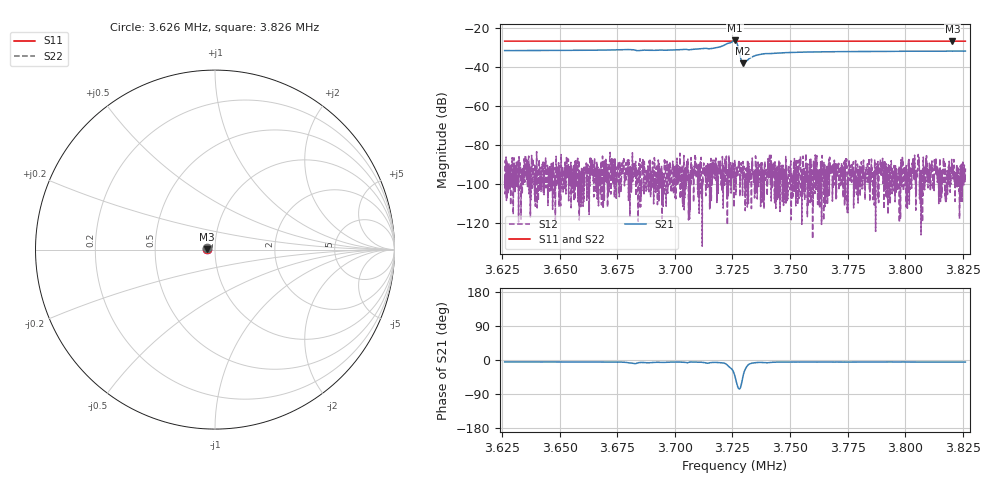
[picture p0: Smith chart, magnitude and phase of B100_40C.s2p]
# Hz S dB R 50.000
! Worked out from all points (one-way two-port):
!   6401 points, 3.626 MHz to 3.826 MHz, reference 50 ohm
!   highest |S21| = -26.15 dB at 3.726 MHz (marker M1); lowest = -37.9 dB at 3.73 MHz (marker M2)
!   lowest |S11| = -26.5 dB at 3.82 MHz (marker M3), VSWR 1.10, Z = 45.5 + j0.253 ohm
!   |S11| at or under -10 dB: start of sweep to end of sweep
!   |S22| runs from -26.6 to -26.5 dB; largest |S21 - S12| = 0.049
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3626094  -26.49 175.0  -31.33 -4.9  -99.31 -38.9  -26.53 170.0
3659438  -26.49 175.3  -31.21 -5.3  -101.70 28.3  -26.54 170.3
3679469  -26.50 175.4  -30.81 -6.9  -87.59 75.0  -26.55 170.5
3683969  -26.50 175.5  -31.38 -7.4  -106.23 81.3  -26.55 170.5
3692782  -26.50 175.6  -31.14 -6.0  -88.88 -12.6  -26.56 170.6
3715688  -26.51 175.8  -30.33 -6.9  -91.87 43.9  -26.57 170.8
3719782  -26.50 175.8  -29.36 -6.8  -95.09 47.0  -26.57 170.9
3725375  -26.50 175.8  -26.46 -30.7  -90.77 21.1  -26.57 170.9
3726094  -26.51 175.8  -26.15 -43.3  -89.25 126.1  -26.57 170.9
3726532  -26.51 175.8  -26.50 -53.8  -97.33 5.7  -26.57 170.9
3726969  -26.51 175.8  -27.61 -64.4  -91.31 85.3  -26.57 170.9
3727438  -26.51 175.9  -29.48 -72.8  -94.10 83.2  -26.57 170.9
3728750  -26.51 175.9  -36.23 -66.9  -88.91 99.8  -26.57 170.9
3729156  -26.51 175.9  -37.49 -54.8  -93.54 53.5  -26.57 171.0
3729625  -26.51 175.9  -37.86 -41.3  -89.63 28.1  -26.57 170.9
3730344  -26.51 175.9  -37.38 -27.0  -98.83 39.6  -26.57 170.9
3733906  -26.51 176.0  -34.36 -7.7  -94.08 9.1  -26.58 171.0
3738063  -26.51 176.0  -33.08 -6.5  -99.46 -44.5  -26.57 171.0
3759438  -26.52 176.1  -32.07 -5.3  -92.84 75.7  -26.59 171.2
3792782  -26.53 176.4  -31.80 -5.0  -92.60 32.4  -26.60 171.5
3820469  -26.54 176.6  -31.65 -5.5  -90.14 70.9  -26.61 171.7
3826094  -26.54 176.7  -31.62 -5.6  -91.88 -69.0  -26.61 171.8
